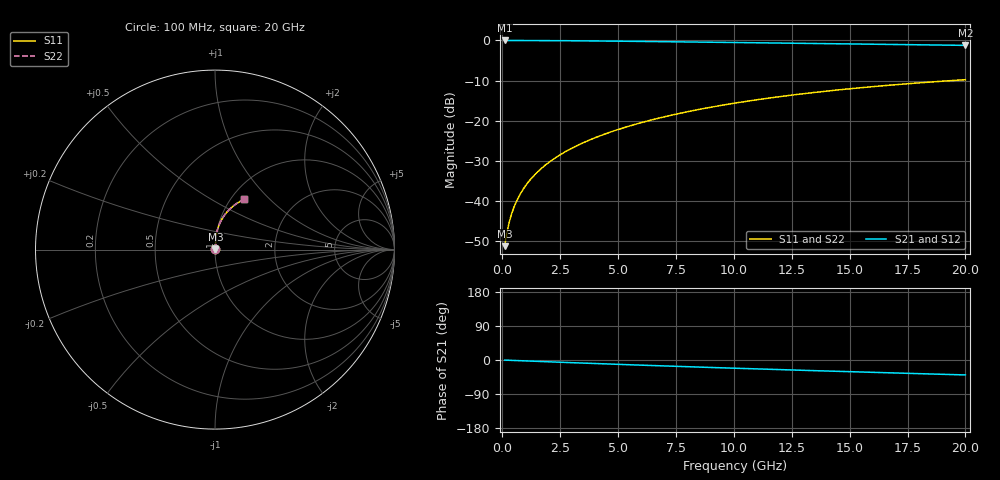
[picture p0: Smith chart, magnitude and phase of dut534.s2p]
! Touchstone file exported from HFSS 2024.1.0
!  File:  C:/UserFiles/LocalFiles/RDL_TSV_Batchsim/temp_RDL_top_534_1779680280.aedt
!  Generated:  11:40:06 AM May 25, 2026
!  Design:  RDL_top
!  Project:  temp_RDL_top_534_1779680280
!  Setup:  Setup1
!  Solution:  Sweep
! Variables:
!  dtsv = 10.80580581um
!  hbump = 3um
!  htsv = 82.69um
!  ldown = 100um
!  lrdl = 590.32um
!  p = 40
!  p1 = 46.67um
!  rhole = 1um
!  t = 450um
!  tdown = 3.915915916um
!  trdl = 4.69um
!  wdown = 15.38538539um
!  wrdl = 22.61um
# GHz S MA R 50.000000
! Terminal data exported
! Port[1] = Box2_T1
! Port[2] = Box2_T2
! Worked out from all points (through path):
!   200 points, 100 MHz to 20 GHz, reference 50 ohm
!   highest |S21| = -0.02 dB at 100 MHz (marker M1); lowest = -1.2 dB at 20 GHz (marker M2)
!   group delay of S21, straight-line fit = 5.42 ps
!   lowest |S11| = -51.3 dB at 100 MHz (marker M3), VSWR 1.01, Z = 50.2 + j0.169 ohm
!   |S11| at or under -10 dB: start of sweep to 19.44 GHz
!   |S22| runs from -51.3 to -9.8 dB; largest |S21 - S12| = 2.2e-15
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0.1  0.002735 38.1  0.9978 -0.3  0.9978 -0.3  0.002735 38.1
! Gamma 0 0 0 0
! Port Impedance 50 0 50 0
0.2  0.004025 55.6  0.9977 -0.5  0.9977 -0.5  0.004025 55.6
0.3  0.005451 63.6  0.9975 -0.7  0.9975 -0.7  0.005452 63.6
0.4  0.006884 68.1  0.9973 -1.0  0.9973 -1.0  0.006884 68.1
0.5  0.008305 71.1  0.9971 -1.2  0.9971 -1.2  0.008306 71.1
0.6  0.009719 73.4  0.997 -1.5  0.997 -1.5  0.00972 73.4
0.8  0.01255 76.5  0.9966 -1.9  0.9966 -1.9  0.01255 76.5
1.1  0.01685 79.5  0.9961 -2.6  0.9961 -2.6  0.01685 79.5
1.3  0.01974 80.9  0.9956 -3.1  0.9956 -3.1  0.01974 80.9
1.6  0.02414 82.3  0.9948 -3.8  0.9948 -3.8  0.02414 82.3
2.1  0.03159 83.8  0.9931 -5.0  0.9931 -5.0  0.03158 83.8
2.7  0.04071 84.7  0.9907 -6.4  0.9907 -6.4  0.04071 84.7
3.5  0.05319 85.2  0.9867 -8.2  0.9867 -8.2  0.05319 85.2
4.2  0.06442 85.2  0.9827 -9.8  0.9827 -9.8  0.06441 85.2
5  0.07758 84.8  0.9776 -11.5  0.9776 -11.5  0.07757 84.8
6.8  0.1083 83.1  0.9651 -15.3  0.9651 -15.3  0.1083 83.1
8.4  0.1364 80.9  0.9533 -18.5  0.9533 -18.5  0.1364 80.9
10.1  0.1664 78.0  0.9406 -21.8  0.9406 -21.8  0.1664 78.0
11.7  0.1944 75.1  0.9286 -24.9  0.9286 -24.9  0.1944 75.1
13.4  0.2233 72.0  0.9158 -28.0  0.9158 -28.0  0.2233 71.9
16.7  0.2763 65.7  0.891 -33.8  0.891 -33.8  0.2762 65.7
20  0.3239 59.8  0.8666 -39.4  0.8666 -39.4  0.3239 59.8
